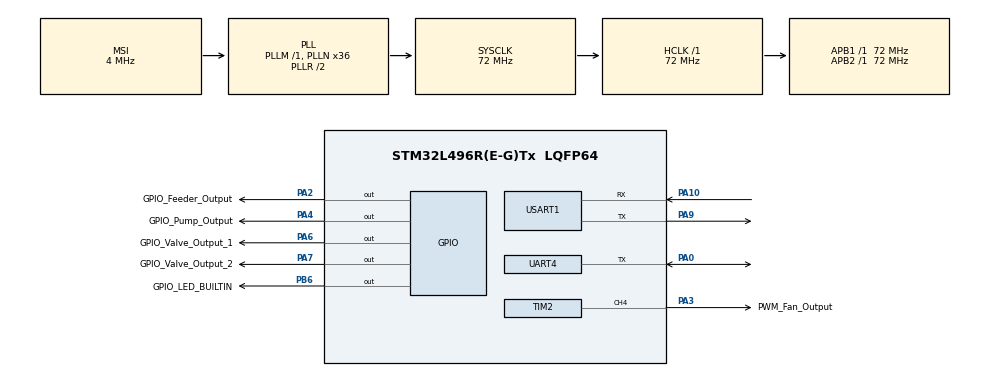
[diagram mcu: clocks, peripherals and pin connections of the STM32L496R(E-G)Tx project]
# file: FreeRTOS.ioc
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Dma.Request0=USART1_RX
Dma.Request1=TIM2_CH2/CH4
Dma.Request2=UART4_TX
Dma.TIM2_CH2/CH4.1.Direction=DMA_MEMORY_TO_PERIPH
Dma.TIM2_CH2/CH4.1.Instance=DMA1_Channel7
Dma.TIM2_CH2/CH4.1.MemDataAlignment=DMA_MDATAALIGN_HALFWORD
Dma.TIM2_CH2/CH4.1.MemInc=DMA_MINC_ENABLE
Dma.TIM2_CH2/CH4.1.Mode=DMA_NORMAL
Dma.TIM2_CH2/CH4.1.PeriphDataAlignment=DMA_PDATAALIGN_HALFWORD
Dma.TIM2_CH2/CH4.1.PeriphInc=DMA_PINC_DISABLE
Dma.TIM2_CH2/CH4.1.Priority=DMA_PRIORITY_LOW
Dma.UART4_TX.2.Direction=DMA_MEMORY_TO_PERIPH
Dma.UART4_TX.2.Instance=DMA2_Channel3
Dma.UART4_TX.2.MemDataAlignment=DMA_MDATAALIGN_BYTE
Dma.UART4_TX.2.MemInc=DMA_MINC_ENABLE
Dma.UART4_TX.2.Mode=DMA_NORMAL
Dma.UART4_TX.2.PeriphDataAlignment=DMA_PDATAALIGN_BYTE
Dma.UART4_TX.2.PeriphInc=DMA_PINC_DISABLE
Dma.UART4_TX.2.Priority=DMA_PRIORITY_LOW
Dma.USART1_RX.0.Direction=DMA_PERIPH_TO_MEMORY
Dma.USART1_RX.0.Instance=DMA1_Channel5
Dma.USART1_RX.0.MemDataAlignment=DMA_MDATAALIGN_BYTE
Dma.USART1_RX.0.MemInc=DMA_MINC_ENABLE
Dma.USART1_RX.0.Mode=DMA_NORMAL
Dma.USART1_RX.0.PeriphDataAlignment=DMA_PDATAALIGN_BYTE
Dma.USART1_RX.0.PeriphInc=DMA_PINC_DISABLE
Dma.USART1_RX.0.Priority=DMA_PRIORITY_LOW
FREERTOS.Events01=uartReceiveEvent,Dynamic,NULL
FREERTOS.Mutexes01=usartMutex,Dynamic,NULL,Available
FREERTOS.Tasks01=defaultTask,24,128,StartDefaultTask,Default,NULL,Dynamic,NULL,NULL;feederTask,8,128,StartFeederTask,Default,NULL,Dynamic,NULL,NULL;userCommand,8,128,StartUserCommand,Default,NULL,Dynamic,NULL,NULL;fanTask,8,128,StartFanTask,Default,NULL,Dynamic,NULL,NULL;pumpTask,8,128,StartPumpTask,Default,NULL,Dynamic,NULL,NULL;valveTask,8,128,StartValveTask,Default,NULL,Dynamic,NULL,NULL;inletTempTask,8,128,StartInletTempTask,Default,NULL,Dynamic,NULL,NULL;temperatureWatc,8,128,StartTemperatureWatchdogTask,Default,NULL,Dynamic,NULL,NULL
FREERTOS.Timers01=feederAutoTimer,CB_feederAutoTimer,osTimerOnce,Default,NULL,Dynamic,NULL
FREERTOS.configTOTAL_HEAP_SIZE=8192
Mcu.Family=STM32L4
Mcu.Name=STM32L496R(E-G)Tx
Mcu.Package=LQFP64
NVIC.DMA1_Channel5_IRQn=true\:5\:0\:false\:false\:true\:true\:false\:true\:true
NVIC.DMA1_Channel7_IRQn=true\:5\:0\:false\:false\:true\:true\:false\:true\:true
NVIC.DMA2_Channel3_IRQn=true\:5\:0\:false\:false\:true\:true\:false\:true\:true
NVIC.PriorityGroup=NVIC_PRIORITYGROUP_4
NVIC.TIM1_UP_TIM16_IRQn=true\:15\:0\:false\:false\:true\:false\:false\:true\:true
NVIC.TIM3_IRQn=true\:5\:0\:false\:false\:true\:true\:true\:true\:true
NVIC.TimeBase=TIM1_UP_TIM16_IRQn
NVIC.TimeBaseIP=TIM1
NVIC.USART1_IRQn=true\:5\:0\:false\:false\:true\:true\:true\:true\:true
PA0.Mode=Half_duplex(single_wire_mode)
PA0.Signal=UART4_TX
PA10.Mode=Asynchronous
PA10.Signal=USART1_RX
PA13\ (JTMS/SWDIO).Mode=Serial_Wire
PA13\ (JTMS/SWDIO).Signal=SYS_JTMS-SWDIO
PA14\ (JTCK/SWCLK).Mode=Serial_Wire
PA14\ (JTCK/SWCLK).Signal=SYS_JTCK-SWCLK
PA2.GPIO_Label=GPIO_Feeder_Output
PA2.Signal=GPIO_Output
PA3.GPIO_Label=PWM_Fan_Output
PA3.Signal=S_TIM2_CH4
PA4.GPIO_Label=GPIO_Pump_Output
PA4.Signal=GPIO_Output
PA6.GPIO_Label=GPIO_Valve_Output_1
PA6.Signal=GPIO_Output
PA7.GPIO_Label=GPIO_Valve_Output_2
PA7.Signal=GPIO_Output
PA9.Mode=Asynchronous
PA9.Signal=USART1_TX
PB6.GPIO_Label=GPIO_LED_BUILTIN
PB6.Signal=GPIO_Output
ProjectManager.HeapSize=0x200
ProjectManager.StackSize=0x400
ProjectManager.TargetToolchain=CMake
RCC.AHBFreq_Value=72000000
RCC.APB1Freq_Value=72000000
RCC.APB1TimFreq_Value=72000000
RCC.APB2Freq_Value=72000000
RCC.APB2TimFreq_Value=72000000
RCC.CortexFreq_Value=72000000
RCC.HCLKFreq_Value=72000000
RCC.HSE_VALUE=8000000
RCC.HSI48_VALUE=48000000
RCC.HSI_VALUE=16000000
RCC.LSE_VALUE=32768
RCC.MSI_VALUE=4000000
RCC.PLLN=36
RCC.SYSCLKFreq_VALUE=72000000
RCC.SYSCLKSource=RCC_SYSCLKSOURCE_PLLCLK
RCC.VCOOutputFreq_Value=144000000
SH.S_TIM2_CH4.0=TIM2_CH4,PWM Generation4 CH4
TIM2.Channel-PWM\ Generation4\ CH4=TIM_CHANNEL_4
TIM2.Period=100-1
TIM2.Prescaler=72-1
TIM3.Prescaler=72 -1
UART4.BaudRate=9600
USART1.VirtualMode-Asynchronous=VM_ASYNC
VP_FREERTOS_VS_CMSIS_V2.Mode=CMSIS_V2
VP_SYS_VS_tim1.Mode=TIM1
VP_TIM2_VS_ClockSourceINT.Mode=Internal
VP_TIM3_VS_ClockSourceINT.Mode=Internal
board=custom

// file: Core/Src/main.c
/* USER CODE BEGIN Header */
/**
  ******************************************************************************
  * @file           : main.c
  * @brief          : Main program body
  ******************************************************************************
  * @attention
  *
  * Copyright (c) 2025 STMicroelectronics.
  * All rights reserved.
  *
  * This software is licensed under terms that can be found in the LICENSE file
  * in the root directory of this software component.
  * If no LICENSE file comes with this software, it is provided AS-IS.
  *
  ******************************************************************************
  */
/* USER CODE END Header */
#include "main.h"
#include "cmsis_os.h"
#include "dma.h"
#include "tim.h"
#include "usart.h"
#include "gpio.h"

/* USER CODE BEGIN Includes */
#include <string.h>
#include <stdio.h>
#include <stdlib.h>
#include <core_cm4.h>
/* USER CODE END Includes */

/* USER CODE BEGIN PV */
uint8_t FinalData[50];
uint8_t rxData[50];
uint8_t temp[2];
uint8_t indx = 0;

uint8_t uart_rx_state = 0;

extern osEventFlagsId_t uartReceiveEventHandle;
extern osMutexId_t usartMutexHandle;
/* USER CODE END PV */

void SystemClock_Config(void);
void MX_FREERTOS_Init(void);

/* USER CODE BEGIN 0 */
#if SWO == true
volatile int32_t ITM_RxBuffer;

int _write(int file, char *ptr, int len)
{
  (void)file;
  int DataIdx;

  for (DataIdx = 0; DataIdx < len; DataIdx++)
  {
    //__io_putchar(*ptr++);
    ITM_SendChar(*ptr++);
  }
  return len;
}
#endif

/* USER CODE END 0 */

int main(void)
{

  /* MCU Configuration--------------------------------------------------------*/

  /* Reset of all peripherals, Initializes the Flash interface and the Systick. */
  HAL_Init();

  /* Configure the system clock */
  SystemClock_Config();

  /* Initialize all configured peripherals */
  MX_GPIO_Init();
  MX_DMA_Init();
  MX_USART1_UART_Init();
  MX_TIM2_Init();
  MX_TIM3_Init();
  MX_UART4_Init();
  /* USER CODE BEGIN 2 */
  HAL_UART_Receive_DMA(&huart1, temp, 1);
  HAL_TIM_PWM_Start(&htim2, TIM_CHANNEL_4);
  __HAL_TIM_SET_COMPARE(&htim2, TIM_CHANNEL_4, 0);
  printf("RESTARTING MCU\n\r");
  fflush(stdout);
  /* USER CODE END 2 */

  /* Init scheduler */
  osKernelInitialize();  /* Call init function for freertos objects (in cmsis_os2.c) */
  MX_FREERTOS_Init();

  /* Start scheduler */
  osKernelStart();

  /* We should never get here as control is now taken by the scheduler */

  /* Infinite loop */
  while (1)
  {

  }
}

void SystemClock_Config(void)
{
  RCC_OscInitTypeDef RCC_OscInitStruct = {0};
  RCC_ClkInitTypeDef RCC_ClkInitStruct = {0};

  /** Configure the main internal regulator output voltage
  */
  if (HAL_PWREx_ControlVoltageScaling(PWR_REGULATOR_VOLTAGE_SCALE1) != HAL_OK)
  {
    Error_Handler();
  }

  /** Initializes the RCC Oscillators according to the specified parameters
  * in the RCC_OscInitTypeDef structure.
  */
  RCC_OscInitStruct.OscillatorType = RCC_OSCILLATORTYPE_MSI;
  RCC_OscInitStruct.MSIState = RCC_MSI_ON;
  RCC_OscInitStruct.MSICalibrationValue = 0;
  RCC_OscInitStruct.MSIClockRange = RCC_MSIRANGE_6;
  RCC_OscInitStruct.PLL.PLLState = RCC_PLL_ON;
  RCC_OscInitStruct.PLL.PLLSource = RCC_PLLSOURCE_MSI;
  RCC_OscInitStruct.PLL.PLLM = 1;
  RCC_OscInitStruct.PLL.PLLN = 36;
  RCC_OscInitStruct.PLL.PLLP = RCC_PLLP_DIV2;
  RCC_OscInitStruct.PLL.PLLQ = RCC_PLLQ_DIV2;
  RCC_OscInitStruct.PLL.PLLR = RCC_PLLR_DIV2;
  if (HAL_RCC_OscConfig(&RCC_OscInitStruct) != HAL_OK)
  {
    Error_Handler();
  }

  /** Initializes the CPU, AHB and APB buses clocks
  */
  RCC_ClkInitStruct.ClockType = RCC_CLOCKTYPE_HCLK|RCC_CLOCKTYPE_SYSCLK
                              |RCC_CLOCKTYPE_PCLK1|RCC_CLOCKTYPE_PCLK2;
  RCC_ClkInitStruct.SYSCLKSource = RCC_SYSCLKSOURCE_PLLCLK;
  RCC_ClkInitStruct.AHBCLKDivider = RCC_SYSCLK_DIV1;
  RCC_ClkInitStruct.APB1CLKDivider = RCC_HCLK_DIV1;
  RCC_ClkInitStruct.APB2CLKDivider = RCC_HCLK_DIV1;

  if (HAL_RCC_ClockConfig(&RCC_ClkInitStruct, FLASH_LATENCY_4) != HAL_OK)
  {
    Error_Handler();
  }
}

/* USER CODE BEGIN 4 */
void HAL_UART_RxCpltCallback(UART_HandleTypeDef *huart){
  if (huart == &huart4)
  {
    uart_rx_state = 0;
    return;
  }

  if (temp[0] == '/')
	{
    memcpy(rxData+indx, temp, 1);
    memcpy(FinalData, rxData, indx+1);
    osEventFlagsSet(uartReceiveEventHandle, 1);
    indx = 0;
	}
  else
  {
    memcpy(rxData+indx, temp, 1);
    if (++indx >= 50) indx = 0;
  }
  HAL_UART_Receive_DMA(&huart1, temp, 1);
}
/* USER CODE END 4 */

void HAL_TIM_PeriodElapsedCallback(TIM_HandleTypeDef *htim)
{
  if (htim->Instance == TIM1)
  {
    HAL_IncTick();
  }
}

void Error_Handler(void)
{
  __disable_irq();
  while (1)
  {
  }
}

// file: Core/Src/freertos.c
/* USER CODE BEGIN Header */
/**
  ******************************************************************************
  * File Name          : freertos.c
  * Description        : Code for freertos applications
  ******************************************************************************
  * @attention
  *
  * Copyright (c) 2025 STMicroelectronics.
  * All rights reserved.
  *
  * This software is licensed under terms that can be found in the LICENSE file
  * in the root directory of this software component.
  * If no LICENSE file comes with this software, it is provided AS-IS.
  *
  ******************************************************************************
  */
/* USER CODE END Header */

#include "FreeRTOS.h"
#include "task.h"
#include "main.h"
#include "cmsis_os.h"

/* USER CODE BEGIN Includes */
#include <stdlib.h>
#include <stdio.h>
#include <string.h>
#include "usart.h"
#include "boiler_lib.h"
#include "ds18b20.h"
/* USER CODE END Includes */

/* USER CODE BEGIN PM */
#if DEBUG_TASK == true
osThreadId_t debugTaskHandle;
const osThreadAttr_t debugTask_attributes = {
  .name = "debugTask",
  .stack_size = 128 * 4,
  .priority = (osPriority_t) osPriorityLow,
};
#endif
/* USER CODE END PM */

/* USER CODE BEGIN Variables */
extern uint8_t FinalData[50];

extern instrument_t instrument_feeder;
extern instrument_t instrument_fan;
extern instrument_t instrument_pump;
extern instrument_t instrument_valve;
extern boiler_config_t boiler_config;

float DS18B20_Temp;

/* USER CODE END Variables */
/* Definitions for defaultTask */
osThreadId_t defaultTaskHandle;
const osThreadAttr_t defaultTask_attributes = {
  .name = "defaultTask",
  .stack_size = 128 * 4,
  .priority = (osPriority_t) osPriorityNormal,
};
/* Definitions for feederTask */
osThreadId_t feederTaskHandle;
const osThreadAttr_t feederTask_attributes = {
  .name = "feederTask",
  .stack_size = 128 * 4,
  .priority = (osPriority_t) osPriorityLow,
};
/* Definitions for userCommand */
osThreadId_t userCommandHandle;
const osThreadAttr_t userCommand_attributes = {
  .name = "userCommand",
  .stack_size = 128 * 4,
  .priority = (osPriority_t) osPriorityLow,
};
/* Definitions for fanTask */
osThreadId_t fanTaskHandle;
const osThreadAttr_t fanTask_attributes = {
  .name = "fanTask",
  .stack_size = 128 * 4,
  .priority = (osPriority_t) osPriorityLow,
};
/* Definitions for pumpTask */
osThreadId_t pumpTaskHandle;
const osThreadAttr_t pumpTask_attributes = {
  .name = "pumpTask",
  .stack_size = 128 * 4,
  .priority = (osPriority_t) osPriorityLow,
};
/* Definitions for valveTask */
osThreadId_t valveTaskHandle;
const osThreadAttr_t valveTask_attributes = {
  .name = "valveTask",
  .stack_size = 128 * 4,
  .priority = (osPriority_t) osPriorityLow,
};
/* Definitions for inletTempTask */
osThreadId_t inletTempTaskHandle;
const osThreadAttr_t inletTempTask_attributes = {
  .name = "inletTempTask",
  .stack_size = 128 * 4,
  .priority = (osPriority_t) osPriorityLow,
};
/* Definitions for temperatureWatc */
osThreadId_t temperatureWatcHandle;
const osThreadAttr_t temperatureWatc_attributes = {
    .name = "temperatureWatc",
    .stack_size = 128 * 4,
    .priority = (osPriority_t)osPriorityLow,
};
/* Definitions for feederAutoTimer */
osTimerId_t feederAutoTimerHandle;
const osTimerAttr_t feederAutoTimer_attributes = {
  .name = "feederAutoTimer"
};
/* Definitions for usartMutex */
osMutexId_t usartMutexHandle;
const osMutexAttr_t usartMutex_attributes = {
  .name = "usartMutex"
};
/* Definitions for uartReceiveEvent */
osEventFlagsId_t uartReceiveEventHandle;
const osEventFlagsAttr_t uartReceiveEvent_attributes = {
  .name = "uartReceiveEvent"
};

/* USER CODE BEGIN FunctionPrototypes */
#if DEBUG_TASK == true
void StartDebugTask(void *argument);
#endif

/* USER CODE END FunctionPrototypes */

void StartDefaultTask(void *argument);
void StartFeederTask(void *argument);
void StartUserCommand(void *argument);
void StartFanTask(void *argument);
void StartPumpTask(void *argument);
void StartValveTask(void *argument);
void StartInletTempTask(void *argument);
void StartTemperatureWatchdogTask(void *argument);
void CB_feederAutoTimer(void *argument);

void MX_FREERTOS_Init(void); /* (MISRA C 2004 rule 8.1) */

void MX_FREERTOS_Init(void) {
  /* Create the mutex(es) */
  /* creation of usartMutex */
  usartMutexHandle = osMutexNew(&usartMutex_attributes);

  /* Create the timer(s) */
  /* creation of feederAutoTimer */
  feederAutoTimerHandle = osTimerNew(CB_feederAutoTimer, osTimerOnce, NULL, &feederAutoTimer_attributes);

  /* Create the thread(s) */
  /* creation of defaultTask */
  defaultTaskHandle = osThreadNew(StartDefaultTask, NULL, &defaultTask_attributes);

  /* creation of feederTask */
  feederTaskHandle = osThreadNew(StartFeederTask, NULL, &feederTask_attributes);

  /* creation of userCommand */
  userCommandHandle = osThreadNew(StartUserCommand, NULL, &userCommand_attributes);

  /* creation of fanTask */
  fanTaskHandle = osThreadNew(StartFanTask, NULL, &fanTask_attributes);

  /* creation of pumpTask */
  pumpTaskHandle = osThreadNew(StartPumpTask, NULL, &pumpTask_attributes);

  /* creation of valveTask */
  valveTaskHandle = osThreadNew(StartValveTask, NULL, &valveTask_attributes);

  /* creation of inletTempTask */
  inletTempTaskHandle = osThreadNew(StartInletTempTask, NULL, &inletTempTask_attributes);

  /* creation of temperatureWatc */
  temperatureWatcHandle = osThreadNew(StartTemperatureWatchdogTask, NULL, &temperatureWatc_attributes);

  /* USER CODE BEGIN RTOS_THREADS */
#if DEBUG_TASK == true
  debugTaskHandle = osThreadNew(StartDebugTask, NULL, &debugTask_attributes);
#endif
  /* USER CODE END RTOS_THREADS */

  /* creation of uartReceiveEvent */
  uartReceiveEventHandle = osEventFlagsNew(&uartReceiveEvent_attributes);

}

void StartDefaultTask(void *argument)
{
  /* USER CODE BEGIN StartDefaultTask */
  /* Infinite loop */
  for(;;)
  {
#if SWO == true
    printf("\n\r#####################\n\r");
    printf("WATER OUT    - %d\n\r", boiler_config.temperature_water_out);
    printf("WATER IN     - %d\n\r", boiler_config.temperature_water_in);
    printf("DS18B20      - %d\n\r", (int)DS18B20_Temp);
    printf("---------------------\n\r");
    printf("FEED ON      - %d\n\r", instrument_feeder.inst_SET);
    printf("FAN SPEED    - %d\n\r", instrument_fan.rate);
    printf("PUMP SPEED   - %d\n\r", instrument_pump.rate);
    printf("VALVE RATE   - %d\n\r", instrument_valve.rate);
    fflush(stdout);

#else
    char str[3];
    osMutexAcquire(&usartMutexHandle, 0);
    HAL_UART_Transmit(&huart1, (uint8_t*) "\n\n\rWATER OUT  - ", 17, 0xFFFF);
    HAL_UART_Transmit(&huart1, (uint8_t*) itoa(boiler_config.temperature_water_out, str, 10), 3, 0xFFFF);
    HAL_UART_Transmit(&huart1, (uint8_t*) "\n\rWATER IN   - ", 16, 0xFFFF);
    HAL_UART_Transmit(&huart1, (uint8_t*) itoa(boiler_config.temperature_water_in, str, 10), 3, 0xFFFF);
    if (instrument_feeder.status != ThreadSuspend)
    {
      HAL_UART_Transmit(&huart1, (uint8_t*) "\n\n\rFEED ON    - ", 17, 0xFFFF);
      HAL_UART_Transmit(&huart1, (uint8_t*) itoa(instrument_feeder.inst_SET, str, 10), 3, 0xFFFF);
    }
    if (instrument_fan.status != ThreadSuspend)
    {
      HAL_UART_Transmit(&huart1, (uint8_t*) "\n\rFAN SPEED  - ", 16, 10);
      HAL_UART_Transmit(&huart1, (uint8_t*) itoa(instrument_fan.rate, str, 10), 3, 0xFFFF);
    }
    if (instrument_pump.status != ThreadSuspend)
    {
      HAL_UART_Transmit(&huart1, (uint8_t*) "\n\rPUMP SPEED - ", 16, 10);
      HAL_UART_Transmit(&huart1, (uint8_t*) itoa(instrument_pump.rate, str, 10), 3, 0xFFFF);
    }
    if (instrument_valve.status != ThreadSuspend)
    {
      HAL_UART_Transmit(&huart1, (uint8_t*) "\n\rVALVE RATE - ", 16, 10);
      HAL_UART_Transmit(&huart1, (uint8_t*) itoa(instrument_valve.rate, str, 10), 3, 0xFFFF);
    }
    osMutexRelease(&usartMutexHandle);
#endif
    osDelay(10000);
  }
  /* USER CODE END StartDefaultTask */
}

void StartFeederTask(void *argument)
{
  /* USER CODE BEGIN StartFeederTask */
  /* Infinite loop */
  osTimerStart(feederAutoTimerHandle, 1000);
  for(;;)
  {
    feeder_cruise();
  }
  /* USER CODE END StartFeederTask */
}

void StartUserCommand(void *argument)
{
  /* USER CODE BEGIN StartUserCommand */
  /* Infinite loop */
  for(;;)
  {
    if(osEventFlagsGet(uartReceiveEventHandle))
    {
      osEventFlagsClear(uartReceiveEventHandle, 1);
      command_selection(FinalData);
    }
    osDelay(100);
  }
  /* USER CODE END StartUserCommand */
}

void StartFanTask(void *argument)
{
  /* USER CODE BEGIN StartFanTask */
  /* Infinite loop */
  for(;;)
  {
    fan_cruise();
  }
  /* USER CODE END StartFanTask */
}

void StartPumpTask(void *argument)
{
  /* USER CODE BEGIN StartPumpTask */
  /* Infinite loop */
  for(;;)
  {
    pump_cruise();
  }
  /* USER CODE END StartPumpTask */
}

void StartValveTask(void *argument)
{
  /* USER CODE BEGIN StartValveTask */
  /* Infinite loop */
  for(;;)
  {
    valve_cruise();
  }
  /* USER CODE END StartValveTask */
}

void StartInletTempTask(void *argument)
{
  /* USER CODE BEGIN StartInletTempTask */
  /* Infinite loop */
  for(;;)
  {
    osKernelLock();
    DS18B20_ListRom();
    // DS18B20_SampleTemp();              // Convert (Sample) Temperature Now
    // DS18B20_Temp = DS18B20_ReadTemp(); // Read The Conversion Result Temperature Value
    osKernelUnlock();
    osDelay(1000);
  }
  /* USER CODE END StartInletTempTask */
}

void StartTemperatureWatchdogTask(void *argument)
{
  /* USER CODE BEGIN StartTemperatureWatchdogTask */
  /* Infinite loop */
  for (;;)
  {
    if ((boiler_config.temperature_water_out >= 80) || (boiler_config.temperature_water_in >= 80))
    {
      boiler_config.status = ErrorWaterHot;
      set_valve_position(90);
      instrument_pump.rate = 3;
      instrument_fan.status = fanOFF;
      instrument_fan.rate = 0;
      instrument_feeder.inst_SET = 0;
    }
  }
  /* USER CODE END StartTemperatureWatchdogTask */
}

/* CB_feederAutoTimer function */
void CB_feederAutoTimer(void *argument)
{
  /* USER CODE BEGIN CB_feederAutoTimer */
  if (boiler_config.status != ErrorWaterHot)
  {
    if ((instrument_feeder.status == feedON) || (instrument_feeder.status == OK))
      {
        instrument_feeder.status = feedOFF;
        HAL_GPIO_WritePin(GPIO_Feeder_Output_GPIO_Port, GPIO_Feeder_Output_Pin, RESET);
        HAL_GPIO_WritePin(GPIO_LED_BUILTIN_GPIO_Port, GPIO_LED_BUILTIN_Pin, RESET);
        if (instrument_feeder.inst_RESET)
        {
          osTimerStart(feederAutoTimerHandle, instrument_feeder.inst_RESET*1000);
        }
        else
        {
          osTimerStart(feederAutoTimerHandle, 5000);
        }
      }
    else if (instrument_feeder.status == feedOFF)
    {
      instrument_feeder.status = feedON;
      HAL_GPIO_WritePin(GPIO_Feeder_Output_GPIO_Port, GPIO_Feeder_Output_Pin, SET);
      HAL_GPIO_WritePin(GPIO_LED_BUILTIN_GPIO_Port, GPIO_LED_BUILTIN_Pin, SET);
      if (instrument_feeder.inst_SET){
        osTimerStart(feederAutoTimerHandle, instrument_feeder.inst_SET*1000);
      }
      else
      {
          osTimerStart(feederAutoTimerHandle, 5000);
      }
    }
  }
  else
  {
    instrument_feeder.status = feedOFF;
    HAL_GPIO_WritePin(GPIO_Feeder_Output_GPIO_Port, GPIO_Feeder_Output_Pin, RESET);
    osTimerStart(feederAutoTimerHandle, 10000);
  }
  /* USER CODE END CB_feederAutoTimer */
}

/* USER CODE BEGIN Application */
void StartDebugTask(void *argument)
{
  uint8_t ramp_up = 1;
  for (;;)
  {
    if (ramp_up == 1)
    {
      boiler_config.temperature_water_in++;
      boiler_config.temperature_water_out = boiler_config.temperature_water_in + 5;
    }
    else
    {
      boiler_config.temperature_water_in--;
      boiler_config.temperature_water_out = boiler_config.temperature_water_in + 5;
    }

    switch (boiler_config.temperature_water_in)
    {
    case 85:
      ramp_up = 0;
      break;

    case -15:
      ramp_up = 1;
      break;
    }
    osDelay(10000);
  }

}
/* USER CODE END Application */
